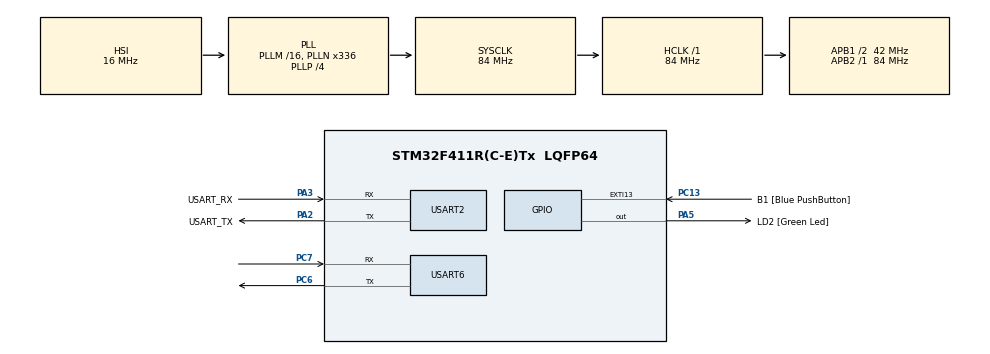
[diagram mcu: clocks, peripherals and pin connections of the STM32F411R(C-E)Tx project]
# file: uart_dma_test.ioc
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Dma.Request0=USART6_RX
Dma.Request1=USART6_TX
Dma.USART6_RX.0.Direction=DMA_PERIPH_TO_MEMORY
Dma.USART6_RX.0.FIFOMode=DMA_FIFOMODE_DISABLE
Dma.USART6_RX.0.Instance=DMA2_Stream1
Dma.USART6_RX.0.MemDataAlignment=DMA_MDATAALIGN_BYTE
Dma.USART6_RX.0.MemInc=DMA_MINC_ENABLE
Dma.USART6_RX.0.Mode=DMA_CIRCULAR
Dma.USART6_RX.0.PeriphDataAlignment=DMA_PDATAALIGN_BYTE
Dma.USART6_RX.0.PeriphInc=DMA_PINC_DISABLE
Dma.USART6_RX.0.Priority=DMA_PRIORITY_HIGH
Dma.USART6_TX.1.Direction=DMA_MEMORY_TO_PERIPH
Dma.USART6_TX.1.FIFOMode=DMA_FIFOMODE_DISABLE
Dma.USART6_TX.1.Instance=DMA2_Stream6
Dma.USART6_TX.1.MemDataAlignment=DMA_MDATAALIGN_BYTE
Dma.USART6_TX.1.MemInc=DMA_MINC_ENABLE
Dma.USART6_TX.1.Mode=DMA_NORMAL
Dma.USART6_TX.1.PeriphDataAlignment=DMA_PDATAALIGN_BYTE
Dma.USART6_TX.1.PeriphInc=DMA_PINC_DISABLE
Dma.USART6_TX.1.Priority=DMA_PRIORITY_MEDIUM
Mcu.Family=STM32F4
Mcu.Name=STM32F411R(C-E)Tx
Mcu.Package=LQFP64
NVIC.DMA2_Stream1_IRQn=true\:0\:0\:false\:false\:true\:false\:true\:true
NVIC.DMA2_Stream6_IRQn=true\:0\:0\:false\:false\:true\:false\:true\:true
NVIC.EXTI15_10_IRQn=true\:0\:0\:false\:false\:true\:true\:true\:true
NVIC.PriorityGroup=NVIC_PRIORITYGROUP_0
NVIC.USART6_IRQn=true\:0\:0\:false\:false\:true\:true\:true\:true
PA13.GPIO_Label=TMS
PA13.Mode=Serial_Wire
PA13.Signal=SYS_JTMS-SWDIO
PA14.GPIO_Label=TCK
PA14.Mode=Serial_Wire
PA14.Signal=SYS_JTCK-SWCLK
PA2.GPIO_Label=USART_TX
PA2.Mode=Asynchronous
PA2.Signal=USART2_TX
PA3.GPIO_Label=USART_RX
PA3.Mode=Asynchronous
PA3.Signal=USART2_RX
PA5.GPIO_Label=LD2 [Green Led]
PA5.Signal=GPIO_Output
PB3.GPIO_Label=SWO
PB3.Signal=SYS_JTDO-SWO
PC13-ANTI_TAMP.GPIO_Label=B1 [Blue PushButton]
PC13-ANTI_TAMP.GPIO_ModeDefaultEXTI=GPIO_MODE_IT_FALLING
PC13-ANTI_TAMP.Signal=GPXTI13
PC14-OSC32_IN.Mode=LSE-External-Oscillator
PC14-OSC32_IN.Signal=RCC_OSC32_IN
PC15-OSC32_OUT.Mode=LSE-External-Oscillator
PC15-OSC32_OUT.Signal=RCC_OSC32_OUT
PC6.Mode=Asynchronous
PC6.Signal=USART6_TX
PC7.Mode=Asynchronous
PC7.Signal=USART6_RX
PH0\ -\ OSC_IN.Mode=HSE-External-Clock-Source
PH0\ -\ OSC_IN.Signal=RCC_OSC_IN
PH1\ -\ OSC_OUT.Mode=HSE-External-Clock-Source
PH1\ -\ OSC_OUT.Signal=RCC_OSC_OUT
ProjectManager.HeapSize=0x200
ProjectManager.StackSize=0x400
ProjectManager.TargetToolchain=STM32CubeIDE
RCC.48MHZClocksFreq_Value=84000000
RCC.AHBFreq_Value=84000000
RCC.APB1CLKDivider=RCC_HCLK_DIV2
RCC.APB1Freq_Value=42000000
RCC.APB1TimFreq_Value=84000000
RCC.APB2Freq_Value=84000000
RCC.APB2TimFreq_Value=84000000
RCC.CortexFreq_Value=84000000
RCC.FLatency-AdvancedSettings=FLASH_LATENCY_2
RCC.HCLKFreq_Value=84000000
RCC.HSE_VALUE=8000000
RCC.HSI_VALUE=16000000
RCC.PLLN=336
RCC.PLLP=RCC_PLLP_DIV4
RCC.SYSCLKFreq_VALUE=84000000
RCC.SYSCLKSource=RCC_SYSCLKSOURCE_PLLCLK
RCC.VCOOutputFreq_Value=336000000
USART2.VirtualMode=VM_ASYNC
USART6.VirtualMode=VM_ASYNC
board=NUCLEO-F411RE

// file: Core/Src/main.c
/* USER CODE BEGIN Header */
/**
  ******************************************************************************
  * @file           : main.c
  * @brief          : Main program body
  ******************************************************************************
  * @attention
  *
  * Copyright (c) 2025 STMicroelectronics.
  * All rights reserved.
  *
  * This software is licensed under terms that can be found in the LICENSE file
  * in the root directory of this software component.
  * If no LICENSE file comes with this software, it is provided AS-IS.
  *
  ******************************************************************************
  */
/* USER CODE END Header */
#include "main.h"

/* USER CODE BEGIN Includes */
#include "usart6_dma.h"
#include <string.h>
/* USER CODE END Includes */

UART_HandleTypeDef huart2;
UART_HandleTypeDef huart6;
DMA_HandleTypeDef hdma_usart6_rx;
DMA_HandleTypeDef hdma_usart6_tx;

void SystemClock_Config(void);
static void MX_GPIO_Init(void);
static void MX_DMA_Init(void);
static void MX_USART2_UART_Init(void);
static void MX_USART6_UART_Init(void);
/* USER CODE BEGIN PFP */
static void log_uart(const char *s);
void HAL_GPIO_EXTI_Callback(uint16_t GPIO_Pin);
/* USER CODE END PFP */

/* USER CODE BEGIN 0 */
void USART6_OnRxBytes(const uint8_t* data, size_t len)
{
  // ----- 1) 로그 출력 (그대로 찍되, 안전하게 널 종료해서 문자열화)
  // 바이너리 데이터일 수도 있으니 길이 제한을 두자.
  // 필요시 HEX 출력으로 바꿔도 됨(주석 참고).
  {
    // 메시지 헤더
    log_uart("[USART6 RX] len=");

    char num[16];
    // 간단한 숫자 변환
    int n = 0;
    unsigned int L = (unsigned int)len;
    do { num[n++] = '0' + (L % 10u); L /= 10u; } while (L && n < (int)sizeof(num));
    for (int i=n-1; i>=0; --i) { char c[2] = {num[i], 0}; log_uart(c); }

    log_uart(" : ");

    // 본문 (최대 240바이트만 그대로 출력; 필요시 늘리세요)
    char buf[241];
    size_t to_copy = (len < sizeof(buf)-1) ? len : sizeof(buf)-1;
    memcpy(buf, data, to_copy);
    buf[to_copy] = '\0';
    log_uart(buf);
    log_uart("\r\n");

    // ※ 바이너리/제어문자가 섞여 터미널이 흐트러지면, 위 대신 HEX 로그를 쓰면 됨:
    // for (size_t i=0; i<len; ++i) { char hx[4]; snprintf(hx, sizeof(hx), "%02X ", data[i]); log_uart(hx); }
    // log_uart("\r\n");
  }

  // ----- 2) 에코백 (그대로 UART6 TX DMA로 전송)
  if (!USART6_Write(data, len)) {
    log_uart("[WARN] UART6 TX ring overflow\r\n");
  }
}
/* USER CODE END 0 */

int main(void)
{

  /* MCU Configuration--------------------------------------------------------*/

  /* Reset of all peripherals, Initializes the Flash interface and the Systick. */
  HAL_Init();

  /* Configure the system clock */
  SystemClock_Config();

  /* Initialize all configured peripherals */
  MX_GPIO_Init();
  MX_DMA_Init();
  MX_USART2_UART_Init();
  MX_USART6_UART_Init();
  /* USER CODE BEGIN 2 */
  USART6_DMA_Start();

  log_uart("UART6 DMA TEST\r\n");
  /* USER CODE END 2 */

  /* Infinite loop */
  while (1)
  {

  }
}

void SystemClock_Config(void)
{
  RCC_OscInitTypeDef RCC_OscInitStruct = {0};
  RCC_ClkInitTypeDef RCC_ClkInitStruct = {0};

  /** Configure the main internal regulator output voltage
  */
  __HAL_RCC_PWR_CLK_ENABLE();
  __HAL_PWR_VOLTAGESCALING_CONFIG(PWR_REGULATOR_VOLTAGE_SCALE1);

  /** Initializes the RCC Oscillators according to the specified parameters
  * in the RCC_OscInitTypeDef structure.
  */
  RCC_OscInitStruct.OscillatorType = RCC_OSCILLATORTYPE_HSI;
  RCC_OscInitStruct.HSIState = RCC_HSI_ON;
  RCC_OscInitStruct.HSICalibrationValue = RCC_HSICALIBRATION_DEFAULT;
  RCC_OscInitStruct.PLL.PLLState = RCC_PLL_ON;
  RCC_OscInitStruct.PLL.PLLSource = RCC_PLLSOURCE_HSI;
  RCC_OscInitStruct.PLL.PLLM = 16;
  RCC_OscInitStruct.PLL.PLLN = 336;
  RCC_OscInitStruct.PLL.PLLP = RCC_PLLP_DIV4;
  RCC_OscInitStruct.PLL.PLLQ = 4;
  if (HAL_RCC_OscConfig(&RCC_OscInitStruct) != HAL_OK)
  {
    Error_Handler();
  }

  /** Initializes the CPU, AHB and APB buses clocks
  */
  RCC_ClkInitStruct.ClockType = RCC_CLOCKTYPE_HCLK|RCC_CLOCKTYPE_SYSCLK
                              |RCC_CLOCKTYPE_PCLK1|RCC_CLOCKTYPE_PCLK2;
  RCC_ClkInitStruct.SYSCLKSource = RCC_SYSCLKSOURCE_PLLCLK;
  RCC_ClkInitStruct.AHBCLKDivider = RCC_SYSCLK_DIV1;
  RCC_ClkInitStruct.APB1CLKDivider = RCC_HCLK_DIV2;
  RCC_ClkInitStruct.APB2CLKDivider = RCC_HCLK_DIV1;

  if (HAL_RCC_ClockConfig(&RCC_ClkInitStruct, FLASH_LATENCY_2) != HAL_OK)
  {
    Error_Handler();
  }
}

static void MX_USART2_UART_Init(void)
{

  huart2.Instance = USART2;
  huart2.Init.BaudRate = 115200;
  huart2.Init.WordLength = UART_WORDLENGTH_8B;
  huart2.Init.StopBits = UART_STOPBITS_1;
  huart2.Init.Parity = UART_PARITY_NONE;
  huart2.Init.Mode = UART_MODE_TX_RX;
  huart2.Init.HwFlowCtl = UART_HWCONTROL_NONE;
  huart2.Init.OverSampling = UART_OVERSAMPLING_16;
  if (HAL_UART_Init(&huart2) != HAL_OK)
  {
    Error_Handler();
  }

}

static void MX_USART6_UART_Init(void)
{

  huart6.Instance = USART6;
  huart6.Init.BaudRate = 115200;
  huart6.Init.WordLength = UART_WORDLENGTH_8B;
  huart6.Init.StopBits = UART_STOPBITS_1;
  huart6.Init.Parity = UART_PARITY_NONE;
  huart6.Init.Mode = UART_MODE_TX_RX;
  huart6.Init.HwFlowCtl = UART_HWCONTROL_NONE;
  huart6.Init.OverSampling = UART_OVERSAMPLING_16;
  if (HAL_UART_Init(&huart6) != HAL_OK)
  {
    Error_Handler();
  }

}

static void MX_DMA_Init(void)
{

  /* DMA controller clock enable */
  __HAL_RCC_DMA2_CLK_ENABLE();

  /* DMA interrupt init */
  /* DMA2_Stream1_IRQn interrupt configuration */
  HAL_NVIC_SetPriority(DMA2_Stream1_IRQn, 0, 0);
  HAL_NVIC_EnableIRQ(DMA2_Stream1_IRQn);
  /* DMA2_Stream6_IRQn interrupt configuration */
  HAL_NVIC_SetPriority(DMA2_Stream6_IRQn, 0, 0);
  HAL_NVIC_EnableIRQ(DMA2_Stream6_IRQn);

}

static void MX_GPIO_Init(void)
{
  GPIO_InitTypeDef GPIO_InitStruct = {0};

  /* GPIO Ports Clock Enable */
  __HAL_RCC_GPIOC_CLK_ENABLE();
  __HAL_RCC_GPIOH_CLK_ENABLE();
  __HAL_RCC_GPIOA_CLK_ENABLE();
  __HAL_RCC_GPIOB_CLK_ENABLE();

  /*Configure GPIO pin Output Level */
  HAL_GPIO_WritePin(LD2_GPIO_Port, LD2_Pin, GPIO_PIN_RESET);

  /*Configure GPIO pin : B1_Pin */
  GPIO_InitStruct.Pin = B1_Pin;
  GPIO_InitStruct.Mode = GPIO_MODE_IT_FALLING;
  GPIO_InitStruct.Pull = GPIO_NOPULL;
  HAL_GPIO_Init(B1_GPIO_Port, &GPIO_InitStruct);

  /*Configure GPIO pin : LD2_Pin */
  GPIO_InitStruct.Pin = LD2_Pin;
  GPIO_InitStruct.Mode = GPIO_MODE_OUTPUT_PP;
  GPIO_InitStruct.Pull = GPIO_NOPULL;
  GPIO_InitStruct.Speed = GPIO_SPEED_FREQ_LOW;
  HAL_GPIO_Init(LD2_GPIO_Port, &GPIO_InitStruct);

  /* EXTI interrupt init*/
  HAL_NVIC_SetPriority(EXTI15_10_IRQn, 0, 0);
  HAL_NVIC_EnableIRQ(EXTI15_10_IRQn);

}

/* USER CODE BEGIN 4 */

static void log_uart(const char *s)
{
  HAL_UART_Transmit(&huart2, (uint8_t*)s, (uint16_t)strlen(s), 20);
}

void HAL_GPIO_EXTI_Callback(uint16_t GPIO_Pin)
{
  if (GPIO_Pin == B1_Pin) {         // PC13
    const char *msg = "Push Blue Button \r\n";
    log_uart(msg);                  // UART2에 즉시 찍기
    USART6_Write((const uint8_t*)msg, strlen(msg)); // 라즈베리파이로도 보냄
  }
}
/* USER CODE END 4 */

void Error_Handler(void)
{
  __disable_irq();
  while (1)
  {
  }
}
